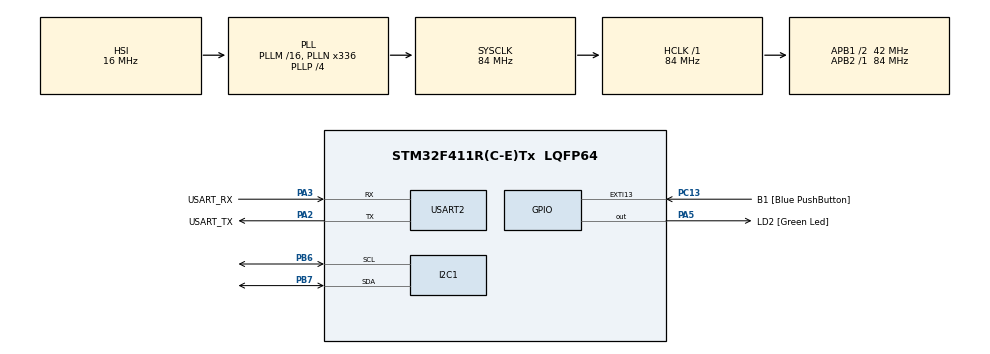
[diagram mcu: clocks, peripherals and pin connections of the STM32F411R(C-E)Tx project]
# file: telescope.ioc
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I2C1.I2C_Mode=I2C_Standard
Mcu.Family=STM32F4
Mcu.Name=STM32F411R(C-E)Tx
Mcu.Package=LQFP64
NVIC.PriorityGroup=NVIC_PRIORITYGROUP_0
PA13.GPIO_Label=TMS
PA13.Mode=Serial_Wire
PA13.Signal=SYS_JTMS-SWDIO
PA14.GPIO_Label=TCK
PA14.Mode=Serial_Wire
PA14.Signal=SYS_JTCK-SWCLK
PA2.GPIO_Label=USART_TX
PA2.Mode=Asynchronous
PA2.Signal=USART2_TX
PA3.GPIO_Label=USART_RX
PA3.Mode=Asynchronous
PA3.Signal=USART2_RX
PA5.GPIO_Label=LD2 [Green Led]
PA5.Signal=GPIO_Output
PB3.GPIO_Label=SWO
PB3.Signal=SYS_JTDO-SWO
PB6.Mode=I2C
PB6.Signal=I2C1_SCL
PB7.Mode=I2C
PB7.Signal=I2C1_SDA
PC13-ANTI_TAMP.GPIO_Label=B1 [Blue PushButton]
PC13-ANTI_TAMP.GPIO_ModeDefaultEXTI=GPIO_MODE_IT_FALLING
PC13-ANTI_TAMP.Signal=GPXTI13
PC14-OSC32_IN.Mode=LSE-External-Oscillator
PC14-OSC32_IN.Signal=RCC_OSC32_IN
PC15-OSC32_OUT.Mode=LSE-External-Oscillator
PC15-OSC32_OUT.Signal=RCC_OSC32_OUT
PH0\ -\ OSC_IN.Mode=HSE-External-Clock-Source
PH0\ -\ OSC_IN.Signal=RCC_OSC_IN
PH1\ -\ OSC_OUT.Mode=HSE-External-Clock-Source
PH1\ -\ OSC_OUT.Signal=RCC_OSC_OUT
ProjectManager.HeapSize=0x200
ProjectManager.StackSize=0x400
ProjectManager.TargetToolchain=STM32CubeIDE
RCC.48MHZClocksFreq_Value=84000000
RCC.AHBFreq_Value=84000000
RCC.APB1CLKDivider=RCC_HCLK_DIV2
RCC.APB1Freq_Value=42000000
RCC.APB1TimFreq_Value=84000000
RCC.APB2Freq_Value=84000000
RCC.APB2TimFreq_Value=84000000
RCC.CortexFreq_Value=84000000
RCC.FLatency-AdvancedSettings=FLASH_LATENCY_2
RCC.HCLKFreq_Value=84000000
RCC.HSE_VALUE=8000000
RCC.HSI_VALUE=16000000
RCC.PLLN=336
RCC.PLLP=RCC_PLLP_DIV4
RCC.SYSCLKFreq_VALUE=84000000
RCC.SYSCLKSource=RCC_SYSCLKSOURCE_PLLCLK
RCC.VCOOutputFreq_Value=336000000
USART2.VirtualMode=VM_ASYNC
board=NUCLEO-F411RE

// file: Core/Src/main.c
/* USER CODE BEGIN Header */
/**
  ******************************************************************************
  * @file           : main.c
  * @brief          : Main program body
  ******************************************************************************
  * @attention
  *
  * Copyright (c) 2023 STMicroelectronics.
  * All rights reserved.
  *
  * This software is licensed under terms that can be found in the LICENSE file
  * in the root directory of this software component.
  * If no LICENSE file comes with this software, it is provided AS-IS.
  *
  ******************************************************************************
  */
/* USER CODE END Header */
#include "main.h"
#include <stdio.h>  // Include the header file for 'snprintf'
#include <string.h> // Include the header file for 'strlen'

I2C_HandleTypeDef hi2c1;

UART_HandleTypeDef huart2;

void SystemClock_Config(void);
static void MX_GPIO_Init(void);
static void MX_USART2_UART_Init(void);
static void MX_I2C1_Init(void);

int main(void)
{

  /* MCU Configuration--------------------------------------------------------*/

  /* Reset of all peripherals, Initializes the Flash interface and the Systick. */
  HAL_Init();

  /* Configure the system clock */
  SystemClock_Config();

  /* Initialize all configured peripherals */
  MX_GPIO_Init();
  MX_USART2_UART_Init();
  MX_I2C1_Init();
  /* USER CODE BEGIN 2 */
  // Initialize the I2C peripheral
      hi2c1.Instance = I2C1;
      hi2c1.Init.ClockSpeed = 100000; // I2C speed (adjust to match your IMU)
      hi2c1.Init.DutyCycle = I2C_DUTYCYCLE_2;
      hi2c1.Init.OwnAddress1 = 0;
      hi2c1.Init.AddressingMode = I2C_ADDRESSINGMODE_7BIT;
      hi2c1.Init.DualAddressMode = I2C_DUALADDRESS_DISABLE;
      hi2c1.Init.OwnAddress2 = 0;
      hi2c1.Init.GeneralCallMode = I2C_GENERALCALL_DISABLE;
      hi2c1.Init.NoStretchMode = I2C_NOSTRETCH_DISABLE;

      if (HAL_I2C_Init(&hi2c1) != HAL_OK) {
          Error_Handler();
      }

      // Read data from the IMU
      uint8_t data[8]; // Buffer to store data
      uint8_t imuAddress = 0x68; // Replace with the correct IMU I2C address

      if (HAL_I2C_Master_Receive(&hi2c1, imuAddress, data, sizeof(data), HAL_MAX_DELAY) != HAL_OK) {
          Error_Handler();
      }

          if (HAL_I2C_Master_Receive(&hi2c1, imuAddress, data, sizeof(data), HAL_MAX_DELAY) != HAL_OK) {
              Error_Handler();
          }

          // Now, print the data to the console
          char uartBuffer[50]; // Buffer for UART data

          // Format the data as a string and store it in uartBuffer
          snprintf(uartBuffer, sizeof(uartBuffer), "IMU Data: %02X %02X %02X %02X %02X %02X %02X %02X\r\n",
              data[0], data[1], data[2], data[3], data[4], data[5], data[6], data[7]);

          // Send the data over UART
          HAL_UART_Transmit(&huart2, (uint8_t *)uartBuffer, strlen(uartBuffer), HAL_MAX_DELAY);

  /* USER CODE END 2 */

  /* Infinite loop */
  while (1)
  {

  }
}

void SystemClock_Config(void)
{
  RCC_OscInitTypeDef RCC_OscInitStruct = {0};
  RCC_ClkInitTypeDef RCC_ClkInitStruct = {0};

  /** Configure the main internal regulator output voltage
  */
  __HAL_RCC_PWR_CLK_ENABLE();
  __HAL_PWR_VOLTAGESCALING_CONFIG(PWR_REGULATOR_VOLTAGE_SCALE1);

  /** Initializes the RCC Oscillators according to the specified parameters
  * in the RCC_OscInitTypeDef structure.
  */
  RCC_OscInitStruct.OscillatorType = RCC_OSCILLATORTYPE_HSI;
  RCC_OscInitStruct.HSIState = RCC_HSI_ON;
  RCC_OscInitStruct.HSICalibrationValue = RCC_HSICALIBRATION_DEFAULT;
  RCC_OscInitStruct.PLL.PLLState = RCC_PLL_ON;
  RCC_OscInitStruct.PLL.PLLSource = RCC_PLLSOURCE_HSI;
  RCC_OscInitStruct.PLL.PLLM = 16;
  RCC_OscInitStruct.PLL.PLLN = 336;
  RCC_OscInitStruct.PLL.PLLP = RCC_PLLP_DIV4;
  RCC_OscInitStruct.PLL.PLLQ = 4;
  if (HAL_RCC_OscConfig(&RCC_OscInitStruct) != HAL_OK)
  {
    Error_Handler();
  }

  /** Initializes the CPU, AHB and APB buses clocks
  */
  RCC_ClkInitStruct.ClockType = RCC_CLOCKTYPE_HCLK|RCC_CLOCKTYPE_SYSCLK
                              |RCC_CLOCKTYPE_PCLK1|RCC_CLOCKTYPE_PCLK2;
  RCC_ClkInitStruct.SYSCLKSource = RCC_SYSCLKSOURCE_PLLCLK;
  RCC_ClkInitStruct.AHBCLKDivider = RCC_SYSCLK_DIV1;
  RCC_ClkInitStruct.APB1CLKDivider = RCC_HCLK_DIV2;
  RCC_ClkInitStruct.APB2CLKDivider = RCC_HCLK_DIV1;

  if (HAL_RCC_ClockConfig(&RCC_ClkInitStruct, FLASH_LATENCY_2) != HAL_OK)
  {
    Error_Handler();
  }
}

static void MX_I2C1_Init(void)
{

  hi2c1.Instance = I2C1;
  hi2c1.Init.ClockSpeed = 100000;
  hi2c1.Init.DutyCycle = I2C_DUTYCYCLE_2;
  hi2c1.Init.OwnAddress1 = 0;
  hi2c1.Init.AddressingMode = I2C_ADDRESSINGMODE_7BIT;
  hi2c1.Init.DualAddressMode = I2C_DUALADDRESS_DISABLE;
  hi2c1.Init.OwnAddress2 = 0;
  hi2c1.Init.GeneralCallMode = I2C_GENERALCALL_DISABLE;
  hi2c1.Init.NoStretchMode = I2C_NOSTRETCH_DISABLE;
  if (HAL_I2C_Init(&hi2c1) != HAL_OK)
  {
    Error_Handler();
  }

}

static void MX_USART2_UART_Init(void)
{

  huart2.Instance = USART2;
  huart2.Init.BaudRate = 115200;
  huart2.Init.WordLength = UART_WORDLENGTH_8B;
  huart2.Init.StopBits = UART_STOPBITS_1;
  huart2.Init.Parity = UART_PARITY_NONE;
  huart2.Init.Mode = UART_MODE_TX_RX;
  huart2.Init.HwFlowCtl = UART_HWCONTROL_NONE;
  huart2.Init.OverSampling = UART_OVERSAMPLING_16;
  if (HAL_UART_Init(&huart2) != HAL_OK)
  {
    Error_Handler();
  }

}

static void MX_GPIO_Init(void)
{
  GPIO_InitTypeDef GPIO_InitStruct = {0};

  /* GPIO Ports Clock Enable */
  __HAL_RCC_GPIOC_CLK_ENABLE();
  __HAL_RCC_GPIOH_CLK_ENABLE();
  __HAL_RCC_GPIOA_CLK_ENABLE();
  __HAL_RCC_GPIOB_CLK_ENABLE();

  /*Configure GPIO pin Output Level */
  HAL_GPIO_WritePin(LD2_GPIO_Port, LD2_Pin, GPIO_PIN_RESET);

  /*Configure GPIO pin : B1_Pin */
  GPIO_InitStruct.Pin = B1_Pin;
  GPIO_InitStruct.Mode = GPIO_MODE_IT_FALLING;
  GPIO_InitStruct.Pull = GPIO_NOPULL;
  HAL_GPIO_Init(B1_GPIO_Port, &GPIO_InitStruct);

  /*Configure GPIO pin : LD2_Pin */
  GPIO_InitStruct.Pin = LD2_Pin;
  GPIO_InitStruct.Mode = GPIO_MODE_OUTPUT_PP;
  GPIO_InitStruct.Pull = GPIO_NOPULL;
  GPIO_InitStruct.Speed = GPIO_SPEED_FREQ_LOW;
  HAL_GPIO_Init(LD2_GPIO_Port, &GPIO_InitStruct);

}

void Error_Handler(void)
{
  __disable_irq();
  while (1)
  {
  }
}
